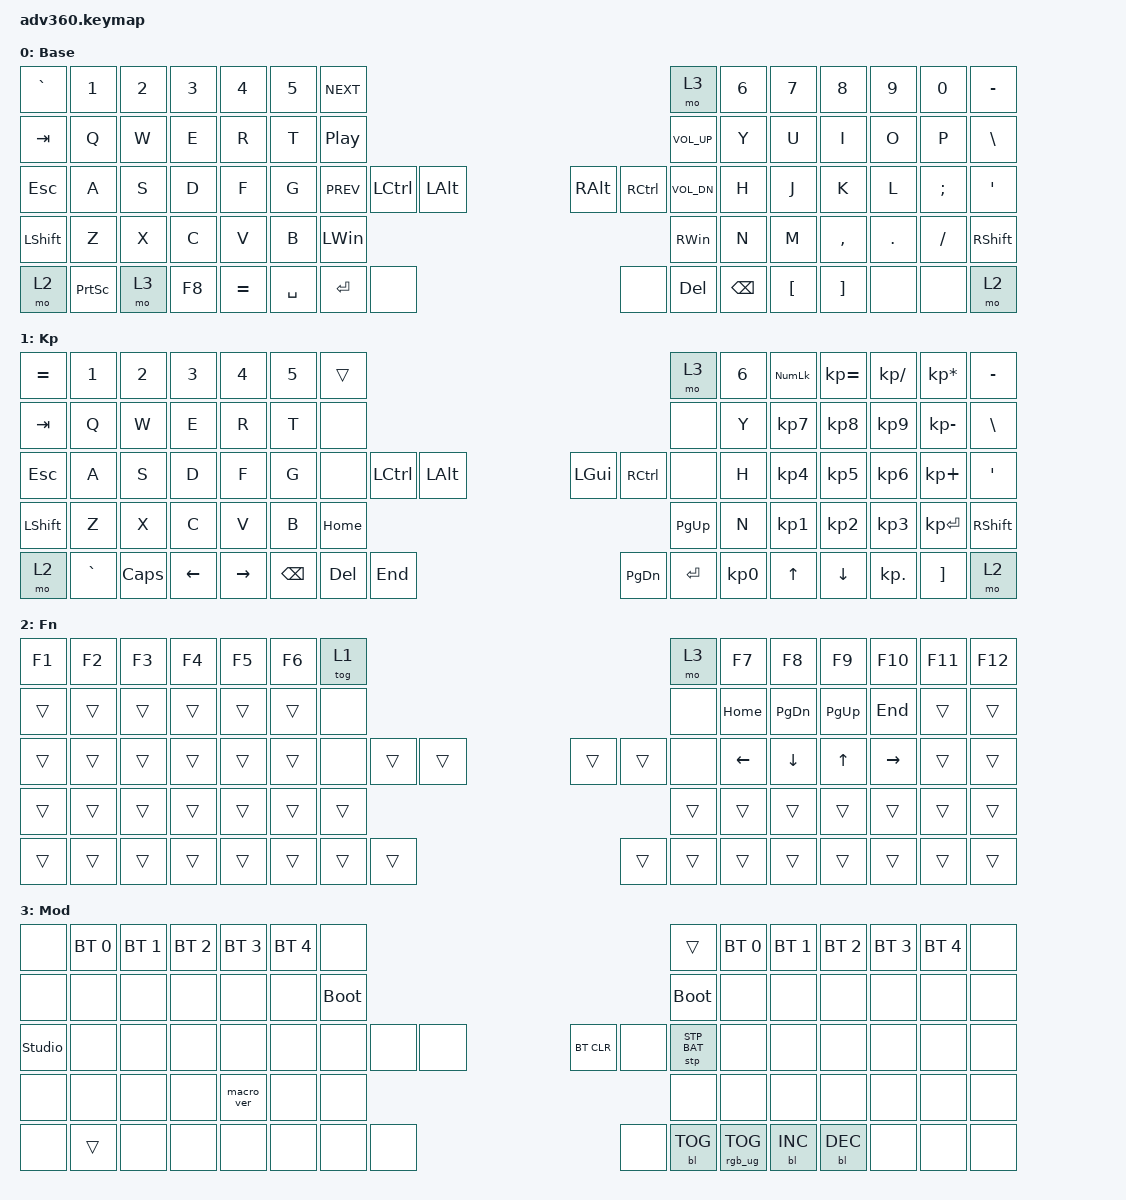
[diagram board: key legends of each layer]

/*
 * Copyright (c) 2020 The ZMK Contributors
 *
 * SPDX-License-Identifier: MIT
 */


/* THIS FILE WAS GENERATED!
 *
 * This file was generated automatically. You may or may not want to
 * edit it directly.
 */

#include <behaviors.dtsi>
#include <dt-bindings/zmk/keys.h>
#include <dt-bindings/zmk/bt.h>
#include <dt-bindings/zmk/rgb.h>
#include <dt-bindings/zmk/stp.h>
#include <dt-bindings/zmk/backlight.h>
#include <dt-bindings/zmk/pointing.h>

/ {
  behaviors {
    #include "macros.dtsi"
    #include "version.dtsi"

    hm: homerow_mods {
        compatible = "zmk,behavior-hold-tap";
        label = "HOMEROW_MODS";
        #binding-cells = <2>;
        tapping-term-ms = <200>;
        quick_tap_ms = <175>;
        flavor = "tap-preferred";
        bindings = <&kp>, <&kp>;
    };
  };

    keymap {
        compatible = "zmk,keymap";


        default_layer {
            display-name = "Base";
            bindings = <
 &kp GRAVE           &kp N1  &kp N2  &kp N3     &kp N4  &kp N5            &kp C_NEXT                                                                         &mo 3  &kp N6    &kp N7     &kp N8   &kp N9    &kp N0  &kp MINUS
   &kp TAB            &kp Q   &kp W   &kp E      &kp R   &kp T              &kp C_PP                                                                  &kp C_VOL_UP   &kp Y     &kp U      &kp I    &kp O     &kp P   &kp BSLH
   &kp ESC            &kp A   &kp S   &kp D      &kp F   &kp G            &kp C_PREV  &kp LCTRL  &kp LALT                       &kp RALT  &kp RCTRL   &kp C_VOL_DN   &kp H     &kp J      &kp K    &kp L  &kp SEMI    &kp SQT
 &kp LSHFT            &kp Z   &kp X   &kp C      &kp V   &kp B                                   &kp LWIN                  &kp RIGHT_WIN                             &kp N     &kp M  &kp COMMA  &kp DOT  &kp FSLH  &kp RSHFT
     &mo 2  &kp PRINTSCREEN   &mo 3   &kp F8  &kp EQUAL                     &kp SPACE  &kp ENTER     &none                          &none    &kp DEL  &kp BACKSPACE          &kp LBKT   &kp RBKT    &none     &none      &mo 2
            >;
        };

        layer_keypad {
            display-name = "Kp";
            bindings = <
 &kp EQUAL     &kp N1    &kp N2    &kp N3     &kp N4  &kp N5              &trans                                                                 &mo 3  &kp N6  &kp KP_NUM  &kp KP_EQUAL  &kp KP_DIVIDE  &kp KP_MULTIPLY  &kp MINUS
   &kp TAB      &kp Q     &kp W     &kp E      &kp R   &kp T               &none                                                                 &none   &kp Y   &kp KP_N7     &kp KP_N8      &kp KP_N9     &kp KP_MINUS   &kp BSLH
   &kp ESC      &kp A     &kp S     &kp D      &kp F   &kp G               &none  &kp LCTRL  &kp LALT                   &kp LGUI  &kp RCTRL      &none   &kp H   &kp KP_N4     &kp KP_N5      &kp KP_N6      &kp KP_PLUS    &kp SQT
 &kp LSHFT      &kp Z     &kp X     &kp C      &kp V   &kp B                                 &kp HOME                  &kp PG_UP                         &kp N   &kp KP_N1     &kp KP_N2      &kp KP_N3     &kp KP_ENTER  &kp RSHFT
     &mo 2  &kp GRAVE  &kp CAPS  &kp LEFT  &kp RIGHT                    &kp BSPC    &kp DEL   &kp END                  &kp PG_DN  &kp ENTER  &kp KP_N0              &kp UP      &kp DOWN     &kp KP_DOT         &kp RBKT      &mo 2
            >;
        };

        layer_fn {
            display-name = "Fn";
            bindings = <
 &kp F1  &kp F2  &kp F3  &kp F4  &kp F5  &kp F6            &tog 1                                                   &mo 3    &kp F7     &kp F8     &kp F9    &kp F10  &kp F11  &kp F12
 &trans  &trans  &trans  &trans  &trans  &trans             &none                                                   &none  &kp HOME  &kp PG_DN  &kp PG_UP    &kp END   &trans   &trans
 &trans  &trans  &trans  &trans  &trans  &trans             &none  &trans  &trans                  &trans  &trans   &none  &kp LEFT   &kp DOWN     &kp UP  &kp RIGHT   &trans   &trans
 &trans  &trans  &trans  &trans  &trans  &trans                            &trans                  &trans                    &trans     &trans     &trans     &trans   &trans   &trans
 &trans  &trans  &trans  &trans  &trans                    &trans  &trans  &trans                  &trans  &trans  &trans               &trans     &trans     &trans   &trans   &trans
            >;
        };

        layer_mod {
            display-name = "Mod";
            bindings = <
  &none  &bt BT_SEL 0  &bt BT_SEL 1  &bt BT_SEL 2  &bt BT_SEL 3  &bt BT_SEL 4                  &none                                                                          &trans  &bt BT_SEL 0  &bt BT_SEL 1  &bt BT_SEL 2  &bt BT_SEL 3  &bt BT_SEL 4   &none
  &none         &none         &none         &none         &none         &none            &bootloader                                                                     &bootloader         &none         &none         &none         &none         &none   &none
  &studio_unlock         &none         &none         &none         &none         &none                  &none   &none   &none                  &bt BT_CLR       &none  &stp STP_BAT         &none         &none         &none         &none         &none   &none
  &none         &none         &none         &none         &macro_ver         &none                                  &none                       &none                                             &none         &none         &none         &none         &none   &none
  &none        &trans         &none         &none         &none                                &none   &none   &none                       &none  &bl BL_TOG         &rgb_ug RGB_TOG                  &bl BL_INC    &bl BL_DEC         &none         &none   &none
            >;
        };

        extra1 {
            display-name = "Red";
            status = "reserved";
        };

        extra2 {
            display-name = "Purple";
            status = "reserved";
        };

        extra3 {
            display-name = "Cyan";
            status = "reserved";
        };

        extra4 {
            display-name = "Yellow";
            status = "reserved";
        };

    };
};
